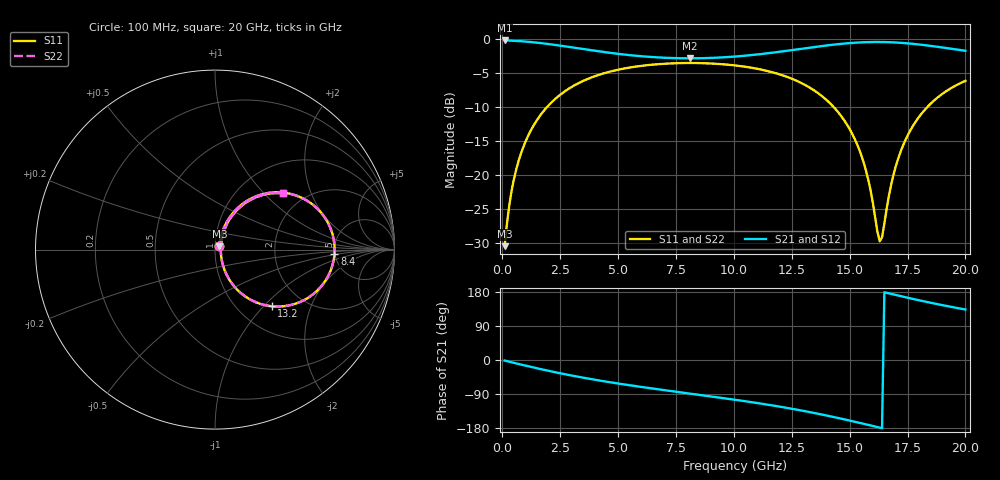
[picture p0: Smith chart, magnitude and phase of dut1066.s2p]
! Touchstone file exported from HFSS 2026.1.0
!  File:  C:/ffzhzh/LocalFiles/Ansys_Project_Files/temp_train_TSV_RDL_1066_1783298901_38704.aedt
!  Generated:  08:58:43 AM Jul  6, 2026
!  Design:  TSV_RDL
!  Project:  temp_train_TSV_RDL_1066_1783298901_38704
! Variables:
!  h_bsmrdl = 3.52um
!  h_ox = 20um
!  h_rdl = 5um
!  h_sub = 85.04um
!  h_tmrdl = 4.48um
!  h_tsv = 85.04um
!  h_via = 3um
!  l_bsmrdl = 852.36um
!  l_sub = 3637.4um
!  l_tmrdl = 150.01um
!  m_sub = 200um
!  pitch = 53.64um
!  r_tsv = 5.09um
!  s_tmrdl = 10um
!  w_bsmrdl = 14.94um
!  w_sub = 500um
!  w_tmrdl = 11.82um
!  x_tsv_center1 = 155.92um
!  x_tsv_center2 = 1023.22um
!  x_tsv_center3 = 1185.05um
!  x_tsv_center4 = 2052.35um
!  x_tsv_center5 = 2214.18um
!  x_tsv_center6 = 3081.48um
# GHz S MA R 50.000000
! Terminal data exported
! Port[1] = TM_RDL1_1_T1
! Port[2] = TM_RDL5_1_T1
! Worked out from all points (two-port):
!   200 points, 100 MHz to 20 GHz, reference 50 ohm
!   highest |S21| = -0.21 dB at 100 MHz (marker M1); lowest = -2.8 dB at 8.1 GHz (marker M2)
!   |S21| within 3 dB of the highest: start of sweep to end of sweep
!   lowest |S11| = -30.5 dB at 100 MHz (marker M3), VSWR 1.06, Z = 52.4 + j1.86 ohm
!   |S11| at or under -10 dB: start of sweep to 1.933 GHz; 14.31 GHz to 18.36 GHz (4.043 GHz wide, 24.7 % of centre)
!   |S22| runs from -30.5 to -3.5 dB; largest |S21 - S12| = 1.5e-14
!   S11 on the Smith chart (normalised r, x): 100 MHz: 1.05, +0.04; 8.4 GHz: 4.94, -0.47; 13.2 GHz: 1.41, -1.12; 20 GHz: 1.57, +1.30
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0.1  0.03002 36.2  0.9761 -1.5  0.9761 -1.5  0.03002 36.2
! Gamma 0 0 0 0
! Port Impedance 50 0 50 0
0.3  0.05973 61.2  0.974 -4.6  0.974 -4.6  0.05973 61.2
0.5  0.09302 66.6  0.9705 -7.5  0.9705 -7.5  0.09302 66.6
1.1  0.1918 65.8  0.9549 -16.2  0.9549 -16.2  0.1918 65.8
2.1  0.3389 55.5  0.9139 -29.9  0.9139 -29.9  0.3389 55.5
3.5  0.4927 40.2  0.8435 -46.8  0.8435 -46.8  0.4927 40.2
6.8  0.6546 10.3  0.7314 -77.9  0.7314 -77.9  0.6546 10.3
8.1  0.6664 0.1  0.7215 -88.6  0.7215 -88.6  0.6664 0.1
8.4  0.6659 -2.3  0.722 -91.0  0.722 -91.0  0.6659 -2.3
10.1  0.6384 -15.9  0.7446 -105.3  0.7446 -105.3  0.6384 -15.9
13.2  0.4474 -44.9  0.8604 -136.5  0.8604 -136.5  0.4474 -44.9
13.4  0.4265 -47.0  0.8696 -138.9  0.8696 -138.9  0.4265 -47.0
14.5  0.2907 -58.6  0.9166 -152.9  0.9166 -152.9  0.2907 -58.6
15.3  0.1719 -64.9  0.941 -164.0  0.941 -164.0  0.1719 -64.9
15.8  0.0933 -62.4  0.9494 -171.2  0.9494 -171.2  0.0933 -62.4
16.3  0.03259 -6.6  0.9513 -178.4  0.9513 -178.4  0.03263 -6.5
16.4  0.03486 20.6  0.9509 -179.9  0.9509 -179.9  0.0349 20.6
16.7  0.07094 57.4  0.948 175.8  0.948 175.8  0.07097 57.4
17.2  0.1484 65.0  0.9383 168.6  0.9383 168.6  0.1484 65.0
17.8  0.2393 61.7  0.9194 160.3  0.9194 160.3  0.2393 61.7
18.7  0.3598 52.9  0.8812 148.5  0.8812 148.5  0.3598 52.9
20  0.4928 39.5  0.8195 133.3  0.8195 133.3  0.4928 39.5
